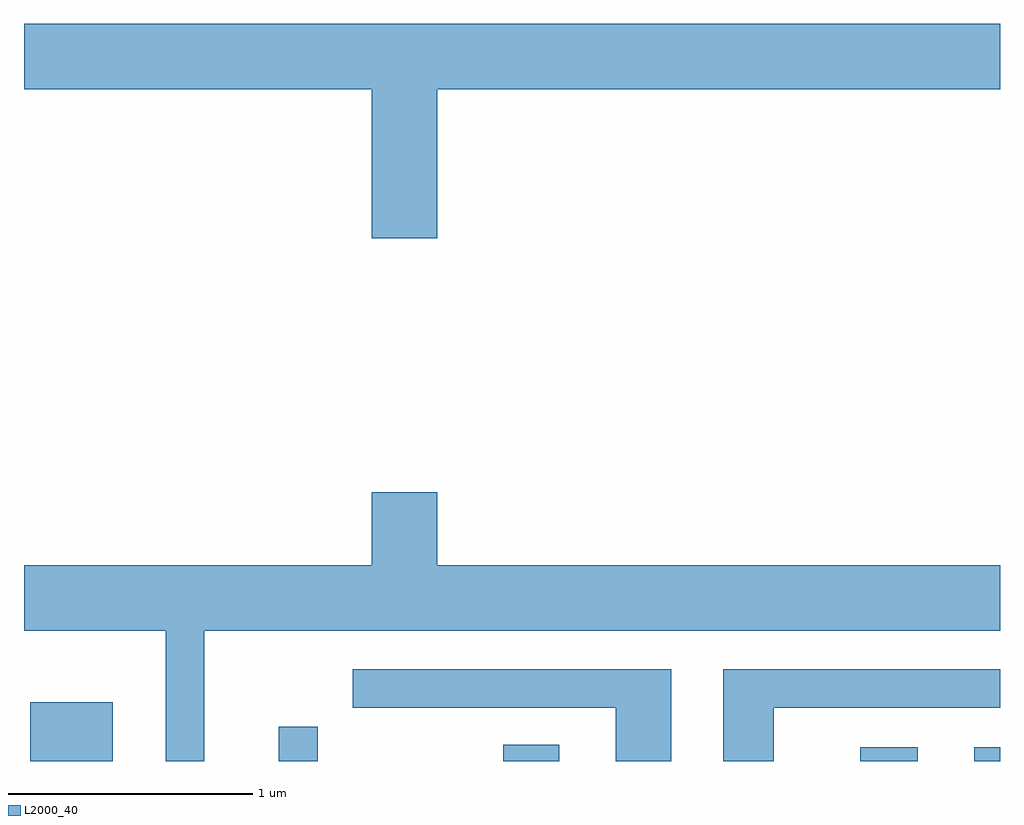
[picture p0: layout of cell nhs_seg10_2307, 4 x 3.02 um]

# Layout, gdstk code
import gdstk
lib = gdstk.Library(unit=1e-6, precision=1e-09)
def R(c, l, rs):  # rectangles x0, y0, x1, y1
    for r in rs: c.add(gdstk.rectangle(r[:2], r[2:], *l))
def P(c, l, *ps):  # polygons
    for p in ps: c.add(gdstk.Polygon(p, *l))
L2000_40 = (2000, 40)

nhs_seg10_2307 = lib.new_cell('nhs_seg10_2307')
R(nhs_seg10_2307, L2000_40, [(253.636,2084.522,253.974,2084.764), (254.656,2084.522,254.814,2084.663), (255.576,2084.522,255.804,2084.589), (257.038,2084.522,257.274,2084.579), (257.506,2084.522,257.611,2084.579)])
P(nhs_seg10_2307, L2000_40, [(255.304,2087.276),(257.611,2087.276),(257.611,2087.544),(253.611,2087.544),(253.611,2087.276),(255.036,2087.276),(255.036,2086.666),(255.304,2086.666)],
  [(254.349,2085.056),(257.611,2085.056),(257.611,2085.324),(255.304,2085.324),(255.304,2085.624),(255.036,2085.624),(255.036,2085.324),(253.611,2085.324),(253.611,2085.056),(254.191,2085.056),(254.191,2084.522),(254.349,2084.522)],
  [(256.684,2084.741),(257.611,2084.741),(257.611,2084.899),(256.476,2084.899),(256.476,2084.522),(256.684,2084.522)],
  [(256.264,2084.899),(254.958,2084.899),(254.958,2084.741),(256.036,2084.741),(256.036,2084.522),(256.264,2084.522)])

lib.write_gds('nhs_seg10_2307.gds')
